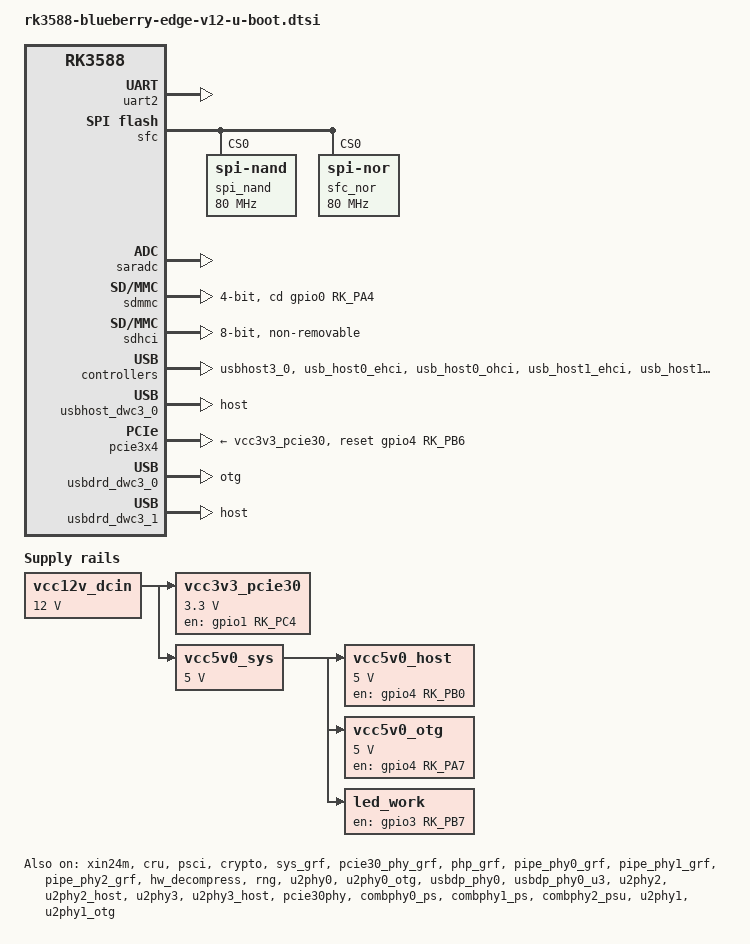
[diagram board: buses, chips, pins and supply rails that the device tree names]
/*
 * (C) Copyright 2021 Rockchip Electronics Co., Ltd
 *
 * SPDX-License-Identifier:     GPL-2.0+
 */

#include <dt-bindings/gpio/gpio.h>

/ {
	aliases {
		mmc0 = &sdhci;
		mmc1 = &sdmmc;
	};

	chosen {
		stdout-path = &uart2;
		u-boot,spl-boot-order = &sdmmc, &sdhci, &spi_nand, &spi_nor;
	};

	secure-otp@fe3a0000 {
		u-boot,dm-spl;
		compatible = "rockchip,rk3588-secure-otp";
		reg = <0x0 0xfe3a0000 0x0 0x4000>;
	};

	vcc12v_dcin: vcc12v-dcin {
		u-boot,dm-pre-reloc;
		compatible = "regulator-fixed";
		regulator-name = "vcc12v_dcin";
		regulator-always-on;
		regulator-boot-on;
		regulator-min-microvolt = <12000000>;
		regulator-max-microvolt = <12000000>;
	};

	vcc3v3_pcie30: vcc3v3-pcie30 {
		compatible = "regulator-fixed";
		regulator-name = "vcc3v3_pcie30";
		regulator-min-microvolt = <3300000>;
		regulator-max-microvolt = <3300000>;
		enable-active-high;
		pinctrl-names = "default";
		pinctrl-0 = <&vcc3v3_pcie30_en>;		
		gpios = <&gpio1 RK_PC4 GPIO_ACTIVE_HIGH>;    //hugsun gpio1_c4
		startup-delay-us = <10000>;
		vin-supply = <&vcc12v_dcin>;
	};

	vcc5v0_sys: vcc5v0-sys {
		u-boot,dm-pre-reloc;
		compatible = "regulator-fixed";
		regulator-name = "vcc5v0_sys";
		regulator-always-on;
		regulator-boot-on;
		regulator-min-microvolt = <5000000>;
		regulator-max-microvolt = <5000000>;
		vin-supply = <&vcc12v_dcin>;
	};

	vcc5v0_host: vcc5v0-host-regulator {
		u-boot,dm-pre-reloc;
		compatible = "regulator-fixed";
		regulator-name = "vcc5v0_host";
		regulator-boot-on;
		regulator-always-on;
		regulator-min-microvolt = <5000000>;
		regulator-max-microvolt = <5000000>;
		enable-active-high;
		gpio = <&gpio4 RK_PB0 GPIO_ACTIVE_HIGH>;
		pinctrl-names = "default";
		pinctrl-0 = <&vcc5v0_host_en>;
		vin-supply = <&vcc5v0_sys>;
	};

	vcc5v0_otg: vcc5v0-otg-regulator {
		compatible = "regulator-fixed";
		regulator-name = "vcc5v0_otg";
		regulator-min-microvolt = <5000000>;
		regulator-max-microvolt = <5000000>;
		enable-active-high;
		gpio = <&gpio4 RK_PA7 GPIO_ACTIVE_HIGH>;
		vin-supply = <&vcc5v0_sys>;
		pinctrl-names = "default";
		pinctrl-0 = <&vcc5v0_otg_en>;
	};

	vcc3v3_pcie30: vcc3v3-pcie30 {
		u-boot,dm-pre-reloc;
		compatible = "regulator-fixed";
		regulator-name = "vcc3v3_pcie30";
		regulator-min-microvolt = <3300000>;
		regulator-max-microvolt = <3300000>;
		enable-active-high;
		gpio = <&gpio1 RK_PC4 GPIO_ACTIVE_HIGH>;    //hugsun gpio1_c4
		regulator-boot-on;
		regulator-always-on;
		startup-delay-us = <10000>;
		pinctrl-names = "default";
		pinctrl-0 = <&vcc3v3_pcie30_en>;
		vin-supply = <&vcc12v_dcin>;
	};

	/* work led is actually blue "PWR" LED and the powerbutton backlight LED */
	led_work: led_work {
		u-boot,dm-pre-reloc;
		compatible = "regulator-fixed";
		regulator-name = "led_work";
		enable-active-high;
		gpio = <&gpio3 RK_PB7 GPIO_ACTIVE_HIGH>; // Turn on work led
		regulator-boot-on;
		regulator-always-on;
		vin-supply = <&vcc5v0_sys>;
	};
};

&firmware {
	u-boot,dm-spl;
};

&gpio0 {
	u-boot,dm-spl;
	status = "okay";
};

&gpio1 {
	u-boot,dm-pre-reloc;
	status = "okay";
};

&gpio2 {
	u-boot,dm-pre-reloc;
	status = "okay";
};
&gpio3 {
	u-boot,dm-pre-reloc;
	status = "okay";
};

&gpio4 {
	u-boot,dm-pre-reloc;
	status = "okay";
};

&scmi {
	u-boot,dm-spl;
};

&scmi_clk {
	u-boot,dm-spl;
};

&sram {
	u-boot,dm-spl;
};

&scmi_shmem {
	u-boot,dm-spl;
};

&xin24m {
	u-boot,dm-pre-reloc;
	status = "okay";
};

&cru {
	u-boot,dm-spl;
	status = "okay";
};

&psci {
	u-boot,dm-pre-reloc;
	status = "okay";
};

&crypto {
	u-boot,dm-spl;
	status = "okay";
};

&sys_grf {
	u-boot,dm-spl;
	status = "okay";
};

&pcie30_phy_grf {
	u-boot,dm-pre-reloc;
	status = "okay";
};

&php_grf {
	u-boot,dm-pre-reloc;
	status = "okay";
};

&pipe_phy0_grf {
	u-boot,dm-pre-reloc;
	status = "okay";
};

&pipe_phy1_grf {
	u-boot,dm-pre-reloc;
	status = "okay";
};

&pipe_phy2_grf {
	u-boot,dm-pre-reloc;
	status = "okay";
};

&uart2 {
	u-boot,dm-spl;
	status = "okay";
};

&hw_decompress {
	u-boot,dm-spl;
	status = "okay";
};

&rng {
	u-boot,dm-pre-reloc;
	status = "okay";
};

&sfc {
	u-boot,dm-spl;
	status = "okay";

	#address-cells = <1>;
	#size-cells = <0>;
	spi_nand: flash@0 {
		u-boot,dm-spl;
		compatible = "spi-nand";
		reg = <0>;
		spi-tx-bus-width = <1>;
		spi-rx-bus-width = <4>;
		spi-max-frequency = <80000000>;
	};

	spi_nor: flash@1 {
		u-boot,dm-spl;
		compatible = "jedec,spi-nor";
		label = "sfc_nor";
		reg = <0>;
		spi-tx-bus-width = <1>;
		spi-rx-bus-width = <4>;
		spi-max-frequency = <80000000>;
	};
};

&saradc {
	u-boot,dm-pre-reloc;
	status = "okay";
};

&sdmmc {
	bus-width = <4>;
	u-boot,dm-spl;
	cd-gpios = <&gpio0 RK_PA4 GPIO_ACTIVE_HIGH>;
	status = "okay";
};

&sdhci {
	bus-width = <8>;
	u-boot,dm-spl;
	mmc-hs400-1_8v;
	mmc-hs400-enhanced-strobe;
	non-removable;
	status = "okay";
};

&usb2phy0_grf {
	u-boot,dm-pre-reloc;
};

&u2phy0 {
	u-boot,dm-pre-reloc;
	status = "okay";
};

&u2phy0_otg {
	u-boot,dm-pre-reloc;
	status = "okay";
};

&usb_grf{
	u-boot,dm-pre-reloc;
};

&usbdpphy0_grf{
	u-boot,dm-pre-reloc;
};

&usbdp_phy0{
	u-boot,dm-pre-reloc;
	status = "okay";
};

&usbdp_phy0_u3{
	u-boot,dm-pre-reloc;
	status = "okay";
};


&usb2phy2_grf {
	u-boot,dm-pre-reloc;
};

&u2phy2 {
	u-boot,dm-pre-reloc;
	status = "okay";
	maximum-speed = "super-speed";
};

&u2phy2_host {
	u-boot,dm-pre-reloc;
	status = "okay";
};

&usb2phy3_grf {
	u-boot,dm-pre-reloc;
};

&u2phy3 {
	u-boot,dm-pre-reloc;
	status = "okay";
};

&u2phy3_host {
	u-boot,dm-pre-reloc;
	status = "okay";
};

&usbhost3_0 {
	u-boot,dm-pre-reloc;
};

&usbhost_dwc3_0 {
	u-boot,dm-pre-reloc;
	dr_mode = "host";
	status = "okay";
};

&usb_host0_ehci {
	status = "okay";
};

&usb_host0_ohci {
	status = "okay";
};

&usb_host1_ehci {
	status = "okay";
};

&usb_host1_ohci {
	status = "okay";
};

/* Support SPL-PINCTRL:
 * 1. ioc
 * 2. pinctrl(sdmmc)
 * 3. gpio if need
 */
&ioc {
	u-boot,dm-spl;
};

&pinctrl {
	u-boot,dm-spl;
	/delete-node/ sdmmc;
	sdmmc {
		u-boot,dm-spl;
		sdmmc_bus4: sdmmc-bus4 {
			u-boot,dm-spl;
			rockchip,pins =
				/* sdmmc_d0 */
				<4 RK_PD0 1 &pcfg_pull_up_drv_level_2>,
				/* sdmmc_d1 */
				<4 RK_PD1 1 &pcfg_pull_up_drv_level_2>,
				/* sdmmc_d2 */
				<4 RK_PD2 1 &pcfg_pull_up_drv_level_2>,
				/* sdmmc_d3 */
				<4 RK_PD3 1 &pcfg_pull_up_drv_level_2>;
		};

		sdmmc_clk: sdmmc-clk {
			u-boot,dm-spl;
			rockchip,pins =
				/* sdmmc_clk */
				<4 RK_PD5 1 &pcfg_pull_up_drv_level_2>;
		};

		sdmmc_cmd: sdmmc-cmd {
			u-boot,dm-spl;
			rockchip,pins =
				/* sdmmc_cmd */
				<4 RK_PD4 1 &pcfg_pull_up_drv_level_2>;
		};

		sdmmc_det: sdmmc-det {
			u-boot,dm-spl;
			rockchip,pins =
				/* sdmmc_det */
				<0 RK_PA4 1 &pcfg_pull_up>;
		};

		sdmmc_pwren: sdmmc-pwren {
			u-boot,dm-spl;
			rockchip,pins =
				/* sdmmc_pwren */
				<0 RK_PA5 2 &pcfg_pull_none>;
		};
	};

	usb {
		u-boot,dm-pre-reloc;
		vcc5v0_host_en: vcc5v0-host-en {
			u-boot,dm-pre-reloc;
			rockchip,pins = <4 RK_PB0 RK_FUNC_GPIO &pcfg_pull_none>;
		};

	};

	usb-typec {
		usbc0_int: usbc0-int {
			rockchip,pins = <3 RK_PC7 RK_FUNC_GPIO &pcfg_pull_up>;
		};

		vcc5v0_otg_en: vcc5v0-otg-en {
			rockchip,pins = <4 RK_PA7 RK_FUNC_GPIO &pcfg_pull_none>;
		};
	};

	pcie {
		u-boot,dm-spl;
		vcc3v3_pcie30_en: vcc3v3-pcie30-en {
			u-boot,dm-spl;
			rockchip,pins = <1 RK_PC4 RK_FUNC_GPIO &pcfg_pull_up>;
		};
	
	};

};

&pcfg_pull_up_drv_level_2 {
	u-boot,dm-spl;
};

&pcfg_pull_up {
	u-boot,dm-spl;
};

&pcfg_pull_none
{
	u-boot,dm-spl;
};

&pcie3x4 {
	u-boot,dm-pre-reloc;
	vpcie3v3-supply = <&vcc3v3_pcie30>;
	reset-gpios = <&gpio4 RK_PB6 GPIO_ACTIVE_HIGH>;
	status = "okay";
};

&pcie30phy {
	u-boot,dm-pre-reloc;
	status = "okay";
};

&combphy0_ps {
	u-boot,dm-pre-reloc;
	status = "okay";
};

&combphy1_ps {
	u-boot,dm-pre-reloc;
	status = "okay";
};

&combphy2_psu {
	u-boot,dm-pre-reloc;
	status = "okay";
};



//type-c0
&u2phy0 {
	status = "okay";
};

&u2phy1 {
	status = "okay";
};

//usb2.0 host0
&u2phy2 {
	status = "okay";
};

//usb2.0 host1
&u2phy3 {
	status = "okay";
};

&u2phy0_otg {
	rockchip,typec-vbus-det;
	status = "okay";
};

&u2phy1_otg {
	phy-supply = <&vcc5v0_host>;
	status = "okay";
};

&u2phy2_host {
	phy-supply = <&vcc5v0_host>;
	status = "okay";
};

&u2phy3_host {
	phy-supply = <&vcc5v0_host>;
	status = "okay";
};

&usb_host0_ehci {
	status = "okay";
};

&usb_host0_ohci {
	status = "okay";
};

&usb_host1_ehci {
	status = "okay";
};

&usb_host1_ohci {
	status = "okay";
};

&usbdrd_dwc3_0 {
	dr_mode = "otg";
	usb-role-switch;
	status = "okay";
	port {
		#address-cells = <1>;
		#size-cells = <0>;
		dwc3_0_role_switch: endpoint@0 {
			reg = <0>;
//			remote-endpoint = <&usbc0_role_sw>;
		};
	};
};

&usbdrd3_0 {
	status = "okay";
};

&usbdrd3_1 {
	status = "okay";
};

&usbdrd_dwc3_1 {
	dr_mode = "host";
	maximum-speed = "high-speed";
	status = "okay";
};

/* related to usbhost_dwc3_0 */
&usbhost3_0 {
	u-boot,dm-pre-reloc;
	status = "okay";
	maximum-speed = "super-speed";
};

/* related to usbhost3_0 */
&usbhost_dwc3_0 {
	u-boot,dm-pre-reloc;
	dr_mode = "host";
	status = "okay";
	maximum-speed = "super-speed";
};
